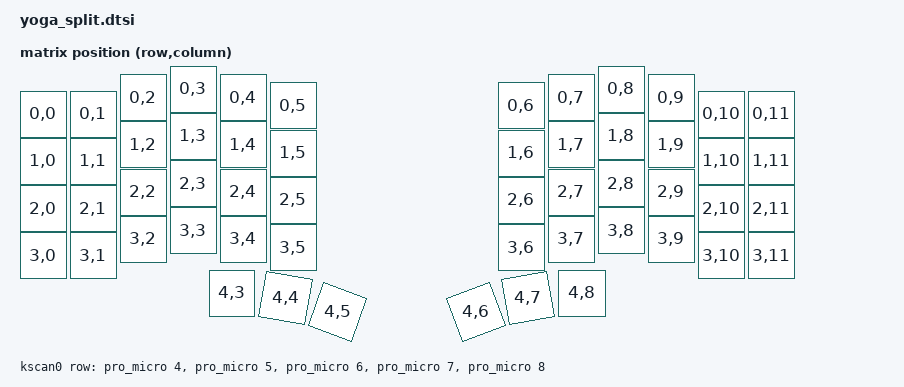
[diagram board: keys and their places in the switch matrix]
/*
 * SPDX-License-Identifier: MIT
 */

#include <dt-bindings/zmk/matrix_transform.h>
#include <physical_layouts.dtsi>

/ {
    chosen {
        zmk,kscan = &kscan0;
        zmk,physical-layout = &yoga_split_layout;
    };

    default_transform: default_transform {
        compatible = "zmk,matrix-transform";
        columns = <12>;
        rows = <5>;
        map = <
            RC(0,0) RC(0,1) RC(0,2) RC(0,3) RC(0,4) RC(0,5) RC(0,6) RC(0,7) RC(0,8) RC(0,9) RC(0,10) RC(0,11)
            RC(1,0) RC(1,1) RC(1,2) RC(1,3) RC(1,4) RC(1,5) RC(1,6) RC(1,7) RC(1,8) RC(1,9) RC(1,10) RC(1,11)
            RC(2,0) RC(2,1) RC(2,2) RC(2,3) RC(2,4) RC(2,5) RC(2,6) RC(2,7) RC(2,8) RC(2,9) RC(2,10) RC(2,11)
            RC(3,0) RC(3,1) RC(3,2) RC(3,3) RC(3,4) RC(3,5) RC(3,6) RC(3,7) RC(3,8) RC(3,9) RC(3,10) RC(3,11)
            RC(4,3) RC(4,4) RC(4,5) RC(4,6) RC(4,7) RC(4,8)
        >;
    };

    yoga_split_layout: yoga_split_layout {
        compatible = "zmk,physical-layout";
        display-name = "Default";
        transform = <&default_transform>;
        keys  //                     w   h     x     y   rot    rx    ry
            = <&key_physical_attrs 100 100     0    50     0    50   100>
            , <&key_physical_attrs 100 100   100    50     0   150   100>
            , <&key_physical_attrs 100 100   200    17     0   250    67>
            , <&key_physical_attrs 100 100   300     0     0   350    50>
            , <&key_physical_attrs 100 100   400    17     0   450    67>
            , <&key_physical_attrs 100 100   500    33     0   550    83>
            , <&key_physical_attrs 100 100   956    33     0  1006    83>
            , <&key_physical_attrs 100 100  1056    17     0  1106    67>
            , <&key_physical_attrs 100 100  1156     0     0  1206    50>
            , <&key_physical_attrs 100 100  1256    17     0  1306    67>
            , <&key_physical_attrs 100 100  1356    50     0  1406   100>
            , <&key_physical_attrs 100 100  1456    50     0  1506   100>
            , <&key_physical_attrs 100 100     0   144     0    50   194>
            , <&key_physical_attrs 100 100   100   144     0   150   194>
            , <&key_physical_attrs 100 100   200   111     0   250   161>
            , <&key_physical_attrs 100 100   300    94     0   350   144>
            , <&key_physical_attrs 100 100   400   111     0   450   161>
            , <&key_physical_attrs 100 100   500   128     0   550   178>
            , <&key_physical_attrs 100 100   956   128     0  1006   178>
            , <&key_physical_attrs 100 100  1056   111     0  1106   161>
            , <&key_physical_attrs 100 100  1156    94     0  1206   144>
            , <&key_physical_attrs 100 100  1256   111     0  1306   161>
            , <&key_physical_attrs 100 100  1356   144     0  1406   194>
            , <&key_physical_attrs 100 100  1456   144     0  1506   194>
            , <&key_physical_attrs 100 100     0   239     0    50   289>
            , <&key_physical_attrs 100 100   100   239     0   150   289>
            , <&key_physical_attrs 100 100   200   206     0   250   256>
            , <&key_physical_attrs 100 100   300   189     0   350   239>
            , <&key_physical_attrs 100 100   400   206     0   450   256>
            , <&key_physical_attrs 100 100   500   222     0   550   272>
            , <&key_physical_attrs 100 100   956   222     0  1006   272>
            , <&key_physical_attrs 100 100  1056   206     0  1106   256>
            , <&key_physical_attrs 100 100  1156   189     0  1206   239>
            , <&key_physical_attrs 100 100  1256   206     0  1306   256>
            , <&key_physical_attrs 100 100  1356   239     0  1406   289>
            , <&key_physical_attrs 100 100  1456   239     0  1506   289>
            , <&key_physical_attrs 100 100     0   333     0    50   383>
            , <&key_physical_attrs 100 100   100   333     0   150   383>
            , <&key_physical_attrs 100 100   200   300     0   250   350>
            , <&key_physical_attrs 100 100   300   283     0   350   333>
            , <&key_physical_attrs 100 100   400   300     0   450   350>
            , <&key_physical_attrs 100 100   500   317     0   550   367>
            , <&key_physical_attrs 100 100   956   317     0  1006   367>
            , <&key_physical_attrs 100 100  1056   300     0  1106   350>
            , <&key_physical_attrs 100 100  1156   283     0  1206   333>
            , <&key_physical_attrs 100 100  1256   300     0  1306   350>
            , <&key_physical_attrs 100 100  1356   333     0  1406   383>
            , <&key_physical_attrs 100 100  1456   333     0  1506   383>
            , <&key_physical_attrs 100 100   378   408     0   428   458>
            , <&key_physical_attrs 100 100   485   418  1000   535   468>
            , <&key_physical_attrs 100 100   589   446  2000   639   496>
            , <&key_physical_attrs 100 100   866   446 -2000   916   496>
            , <&key_physical_attrs 100 100   970   418 -1000  1020   468>
            , <&key_physical_attrs 100 100  1078   408     0  1128   458>
            ;
    };

    kscan0: kscan {
        compatible = "zmk,kscan-gpio-matrix";
        wakeup-source;
        diode-direction = "col2row";
        row-gpios
            = <&pro_micro 4 (GPIO_ACTIVE_HIGH | GPIO_PULL_DOWN)>
            , <&pro_micro 5 (GPIO_ACTIVE_HIGH | GPIO_PULL_DOWN)>
            , <&pro_micro 6 (GPIO_ACTIVE_HIGH | GPIO_PULL_DOWN)>
            , <&pro_micro 7 (GPIO_ACTIVE_HIGH | GPIO_PULL_DOWN)>
            , <&pro_micro 8 (GPIO_ACTIVE_HIGH | GPIO_PULL_DOWN)>
            ;
    };
};
